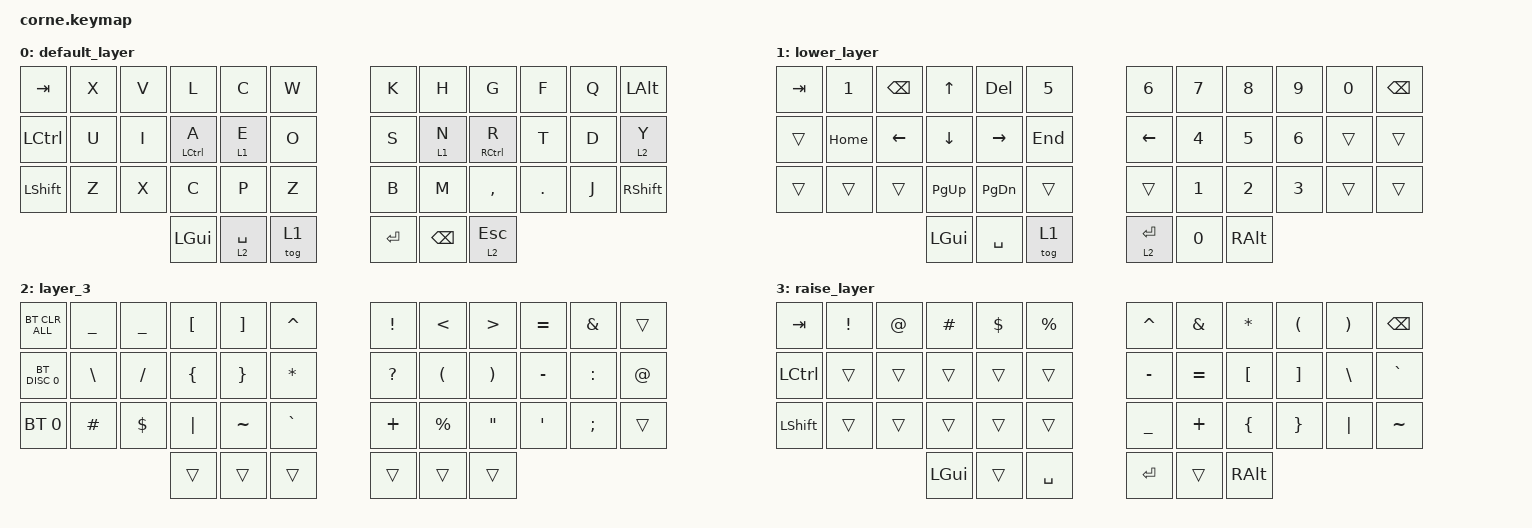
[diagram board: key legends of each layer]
/*
 * Copyright (c) 2020 The ZMK Contributors
 *
 * SPDX-License-Identifier: MIT
 */

#include <behaviors.dtsi>
#include <dt-bindings/zmk/bt.h>
#include <dt-bindings/zmk/keys.h>

&mt {
    tapping-term-ms = <250>;
    flavor = "tap-preferred";
};

/ {
    combos {
        compatible = "zmk,combos";

        test {
            bindings = <&mo 0>;
            key-positions = <39 40>;
        };
    };

    macros {
        test: test {
            compatible = "zmk,behavior-macro";
            #binding-cells = <0>;
            bindings = <&none &kp &kp>, <&macro_press>;

            label = "TEST";
        };
    };

    behaviors {
        hold_tap_2: hold_tap_2 {
            compatible = "zmk,behavior-hold-tap";
            label = "HOLD_TAP_2";
            bindings = <&none>, <&none>;

            #binding-cells = <2>;
            tapping-term-ms = <250>;
        };
    };

    keymap {
        compatible = "zmk,keymap";

        default_layer {
            // -----------------------------------------------------------------------------------------
            // |  TAB |  Q  |  W  |  E  |  R  |  T  |   |  Y  |  U   |  I  |  O  |  P  | BSPC |
            // | CTRL |  A  |  S  |  D  |  F  |  G  |   |  H  |  J   |  K  |  L  |  ;  |  '   |
            // | SHFT |  Z  |  X  |  C  |  V  |  B  |   |  N  |  M   |  ,  |  .  |  /  | ESC  |
            //                    | GUI | LWR | SPC |   | ENT | RSE  | ALT |

            bindings = <
&kp TAB    &kp X  &kp V  &kp L               &kp C        &kp W     &kp K    &kp H          &kp G                &kp F    &kp Q  &kp LEFT_ALT
&kp LCTRL  &kp U  &kp I  &mt LEFT_CONTROL A  &lt 1 E      &kp O     &kp S    &lt 1 N        &mt RIGHT_CONTROL R  &kp T    &kp D  &lt 2 Y
&kp LSHFT  &kp Z  &kp X  &kp C               &kp P        &kp Z     &kp B    &kp M          &kp COMMA            &kp DOT  &kp J  &kp RIGHT_SHIFT
                         &kp LGUI            &lt 2 SPACE  &tog 1    &kp RET  &kp BACKSPACE  &lt 2 ESCAPE
            >;
        };

        lower_layer {
            // -----------------------------------------------------------------------------------------
            // |  TAB |  1  |  2  |  3  |  4  |  5  |   |  6  |  7  |  8  |  9  |  0  | BSPC |
            // | BTCLR| BT1 | BT2 | BT3 | BT4 | BT5 |   | LFT | DWN |  UP | RGT |     |      |
            // | SHFT |     |     |     |     |     |   |     |     |     |     |     |      |
            //                    | GUI |     | SPC |   | ENT |     | ALT |

            bindings = <
&kp TAB  &kp N1    &kp BSPC  &kp UP       &kp DEL        &kp N5     &kp N6       &kp N7        &kp N8    &kp N9  &kp N0  &kp BSPC
&trans   &kp HOME  &kp LEFT  &kp DOWN     &kp RIGHT      &kp END    &kp LEFT     &kp N4        &kp N5    &kp N6  &trans  &trans
&trans   &trans    &trans    &kp PAGE_UP  &kp PAGE_DOWN  &trans     &trans       &kp N1        &kp N2    &kp N3  &trans  &trans
                             &kp LGUI     &kp SPACE      &tog 1     &lt 2 ENTER  &kp NUMBER_0  &kp RALT
            >;
        };

        layer_3 {
            bindings = <
&bt BT_CLR_ALL  &kp UNDER  &kp UNDER  &kp LBKT  &kp RBKT   &kp CARET    &kp EXCL   &kp LT     &kp GT    &kp EQUAL  &kp AMPS   &trans
&bt BT_DISC 0   &kp BSLH   &kp FSLH   &kp LBRC  &kp RBRC   &kp STAR     &kp QMARK  &kp LPAR   &kp RPAR  &kp MINUS  &kp COLON  &kp AT
&bt BT_SEL 0    &kp POUND  &kp DLLR   &kp PIPE  &kp TILDE  &kp GRAVE    &kp PLUS   &kp PRCNT  &kp DQT   &kp SQT    &kp SEMI   &trans
                                      &trans    &trans     &trans       &trans     &trans     &trans
            >;
        };

        raise_layer {
            // -----------------------------------------------------------------------------------------
            // |  TAB |  !  |  @  |  #  |  $  |  %  |   |  ^  |  &  |  *  |  (  |  )  | BSPC |
            // | CTRL |     |     |     |     |     |   |  -  |  =  |  [  |  ]  |  \  |  `   |
            // | SHFT |     |     |     |     |     |   |  _  |  +  |  {  |  }  | "|" |  ~   |
            //                    | GUI |     | SPC |   | ENT |     | ALT |

            bindings = <
&kp TAB    &kp EXCL  &kp AT  &kp HASH  &kp DLLR  &kp PRCNT    &kp CARET  &kp AMPS   &kp ASTRK  &kp LPAR  &kp RPAR  &kp BSPC
&kp LCTRL  &trans    &trans  &trans    &trans    &trans       &kp MINUS  &kp EQUAL  &kp LBKT   &kp RBKT  &kp BSLH  &kp GRAVE
&kp LSHFT  &trans    &trans  &trans    &trans    &trans       &kp UNDER  &kp PLUS   &kp LBRC   &kp RBRC  &kp PIPE  &kp TILDE
                             &kp LGUI  &trans    &kp SPACE    &kp RET    &trans     &kp RALT
            >;
        };
    };
};
